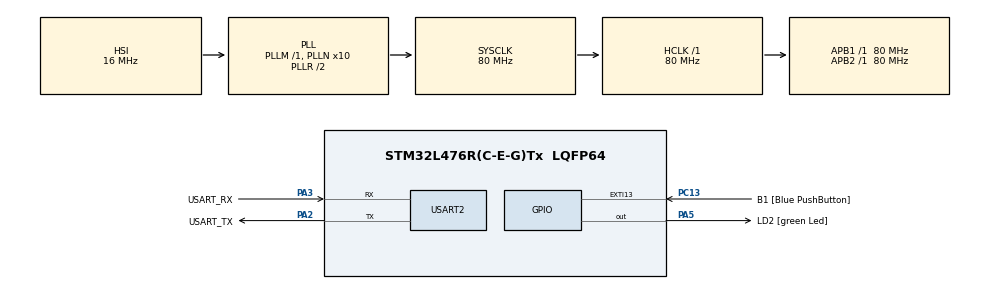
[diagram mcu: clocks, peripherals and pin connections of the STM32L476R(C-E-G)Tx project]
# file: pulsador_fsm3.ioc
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Mcu.Family=STM32L4
Mcu.Name=STM32L476R(C-E-G)Tx
Mcu.Package=LQFP64
NVIC.PriorityGroup=NVIC_PRIORITYGROUP_4
PA13\ (JTMS-SWDIO).GPIO_Label=TMS
PA13\ (JTMS-SWDIO).Mode=Serial_Wire
PA13\ (JTMS-SWDIO).Signal=SYS_JTMS-SWDIO
PA14\ (JTCK-SWCLK).GPIO_Label=TCK
PA14\ (JTCK-SWCLK).Mode=Serial_Wire
PA14\ (JTCK-SWCLK).Signal=SYS_JTCK-SWCLK
PA2.GPIO_Label=USART_TX
PA2.GPIO_Mode=GPIO_MODE_AF_PP
PA2.GPIO_PuPd=GPIO_NOPULL
PA2.GPIO_Speed=GPIO_SPEED_FREQ_VERY_HIGH
PA2.Mode=Asynchronous
PA2.Signal=USART2_TX
PA3.GPIO_Label=USART_RX
PA3.GPIO_Mode=GPIO_MODE_AF_PP
PA3.GPIO_PuPd=GPIO_NOPULL
PA3.GPIO_Speed=GPIO_SPEED_FREQ_VERY_HIGH
PA3.Mode=Asynchronous
PA3.Signal=USART2_RX
PA5.GPIO_Label=LD2 [green Led]
PA5.GPIO_ModeDefaultOutputPP=GPIO_MODE_OUTPUT_PP
PA5.GPIO_PuPd=GPIO_NOPULL
PA5.GPIO_Speed=GPIO_SPEED_FREQ_LOW
PA5.Signal=GPIO_Output
PB3\ (JTDO-TRACESWO).GPIO_Label=SWO
PB3\ (JTDO-TRACESWO).Signal=SYS_JTDO-SWO
PC13.GPIO_Label=B1 [Blue PushButton]
PC13.GPIO_ModeDefaultEXTI=GPIO_MODE_IT_FALLING
PC13.GPIO_PuPd=GPIO_NOPULL
PC13.Signal=GPXTI13
PC14-OSC32_IN\ (PC14).Mode=LSE-External-Oscillator
PC14-OSC32_IN\ (PC14).Signal=RCC_OSC32_IN
PC15-OSC32_OUT\ (PC15).Mode=LSE-External-Oscillator
PC15-OSC32_OUT\ (PC15).Signal=RCC_OSC32_OUT
PH0-OSC_IN\ (PH0).Signal=RCC_OSC_IN
PH1-OSC_OUT\ (PH1).Signal=RCC_OSC_OUT
ProjectManager.HeapSize=0x200
ProjectManager.StackSize=0x400
ProjectManager.TargetToolchain=STM32CubeIDE
RCC.ADCFreq_Value=64000000
RCC.AHBFreq_Value=80000000
RCC.APB1Freq_Value=80000000
RCC.APB1TimFreq_Value=80000000
RCC.APB2Freq_Value=80000000
RCC.APB2TimFreq_Value=80000000
RCC.CortexFreq_Value=80000000
RCC.HCLKFreq_Value=80000000
RCC.HSE_VALUE=8000000
RCC.HSI_VALUE=16000000
RCC.MSI_VALUE=4000000
RCC.PLLN=10
RCC.PLLSourceVirtual=RCC_PLLSOURCE_HSI
RCC.PREFETCH_ENABLE=1
RCC.SYSCLKFreq_VALUE=80000000
RCC.SYSCLKSource=RCC_SYSCLKSOURCE_PLLCLK
RCC.USBFreq_Value=64000000
RCC.VCOOutputFreq_Value=160000000
USART2.VirtualMode-Asynchronous=VM_ASYNC
board=NUCLEO-L476RG

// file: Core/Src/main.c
/* USER CODE BEGIN Header */
/**
  ******************************************************************************
  * @file           : main.c
  * @brief          : Main program body
  ******************************************************************************
  * @attention
  *
  * <h2><center>&copy; Copyright (c) 2020 STMicroelectronics.
  * All rights reserved.</center></h2>
  *
  * This software component is licensed by ST under BSD 3-Clause license,
  * the "License"; You may not use this file except in compliance with the
  * License. You may obtain a copy of the License at:
  *                        opensource.org/licenses/BSD-3-Clause
  *
  ******************************************************************************
  */
/* USER CODE END Header */

#include "main.h"

UART_HandleTypeDef huart2;

void SystemClock_Config(void);
static void MX_GPIO_Init(void);
static void MX_USART2_UART_Init(void);

int main(void)
{

  /* MCU Configuration--------------------------------------------------------*/

  /* Reset of all peripherals, Initializes the Flash interface and the Systick. */
  HAL_Init();

  /* Configure the system clock */
  SystemClock_Config();

  /* Initialize all configured peripherals */
  MX_GPIO_Init();
  MX_USART2_UART_Init();
  /* USER CODE BEGIN 2 */

  current_event = NO_EVENT;
  current_state = LED_OFF;
  set_output(current_state);
  cuenta = 0;
  tick_flag = 0;

  /* USER CODE END 2 */

  /* Infinite loop */
  while (1)
  {

	if (tick_flag == 1) {
		current_event = get_event();
		tick_flag = 0;
	}

	if (current_event == EVENT_UP) {
		(current_state == LED_ON) ? (current_state = LED_OFF) : (current_state = LED_ON);
		set_output(current_state);
		cuenta++;
		current_event = NO_EVENT;
	}

  }
}

void SystemClock_Config(void)
{
  RCC_OscInitTypeDef RCC_OscInitStruct = {0};
  RCC_ClkInitTypeDef RCC_ClkInitStruct = {0};
  RCC_PeriphCLKInitTypeDef PeriphClkInit = {0};

  /** Initializes the CPU, AHB and APB busses clocks
  */
  RCC_OscInitStruct.OscillatorType = RCC_OSCILLATORTYPE_HSI;
  RCC_OscInitStruct.HSIState = RCC_HSI_ON;
  RCC_OscInitStruct.HSICalibrationValue = RCC_HSICALIBRATION_DEFAULT;
  RCC_OscInitStruct.PLL.PLLState = RCC_PLL_ON;
  RCC_OscInitStruct.PLL.PLLSource = RCC_PLLSOURCE_HSI;
  RCC_OscInitStruct.PLL.PLLM = 1;
  RCC_OscInitStruct.PLL.PLLN = 10;
  RCC_OscInitStruct.PLL.PLLP = RCC_PLLP_DIV7;
  RCC_OscInitStruct.PLL.PLLQ = RCC_PLLQ_DIV2;
  RCC_OscInitStruct.PLL.PLLR = RCC_PLLR_DIV2;
  if (HAL_RCC_OscConfig(&RCC_OscInitStruct) != HAL_OK)
  {
    Error_Handler();
  }
  /** Initializes the CPU, AHB and APB busses clocks
  */
  RCC_ClkInitStruct.ClockType = RCC_CLOCKTYPE_HCLK|RCC_CLOCKTYPE_SYSCLK
                              |RCC_CLOCKTYPE_PCLK1|RCC_CLOCKTYPE_PCLK2;
  RCC_ClkInitStruct.SYSCLKSource = RCC_SYSCLKSOURCE_PLLCLK;
  RCC_ClkInitStruct.AHBCLKDivider = RCC_SYSCLK_DIV1;
  RCC_ClkInitStruct.APB1CLKDivider = RCC_HCLK_DIV1;
  RCC_ClkInitStruct.APB2CLKDivider = RCC_HCLK_DIV1;

  if (HAL_RCC_ClockConfig(&RCC_ClkInitStruct, FLASH_LATENCY_4) != HAL_OK)
  {
    Error_Handler();
  }
  PeriphClkInit.PeriphClockSelection = RCC_PERIPHCLK_USART2;
  PeriphClkInit.Usart2ClockSelection = RCC_USART2CLKSOURCE_PCLK1;
  if (HAL_RCCEx_PeriphCLKConfig(&PeriphClkInit) != HAL_OK)
  {
    Error_Handler();
  }
  /** Configure the main internal regulator output voltage
  */
  if (HAL_PWREx_ControlVoltageScaling(PWR_REGULATOR_VOLTAGE_SCALE1) != HAL_OK)
  {
    Error_Handler();
  }
}

static void MX_USART2_UART_Init(void)
{

  huart2.Instance = USART2;
  huart2.Init.BaudRate = 115200;
  huart2.Init.WordLength = UART_WORDLENGTH_8B;
  huart2.Init.StopBits = UART_STOPBITS_1;
  huart2.Init.Parity = UART_PARITY_NONE;
  huart2.Init.Mode = UART_MODE_TX_RX;
  huart2.Init.HwFlowCtl = UART_HWCONTROL_NONE;
  huart2.Init.OverSampling = UART_OVERSAMPLING_16;
  huart2.Init.OneBitSampling = UART_ONE_BIT_SAMPLE_DISABLE;
  huart2.AdvancedInit.AdvFeatureInit = UART_ADVFEATURE_NO_INIT;
  if (HAL_UART_Init(&huart2) != HAL_OK)
  {
    Error_Handler();
  }

}

static void MX_GPIO_Init(void)
{
  GPIO_InitTypeDef GPIO_InitStruct = {0};

  /* GPIO Ports Clock Enable */
  __HAL_RCC_GPIOC_CLK_ENABLE();
  __HAL_RCC_GPIOH_CLK_ENABLE();
  __HAL_RCC_GPIOA_CLK_ENABLE();
  __HAL_RCC_GPIOB_CLK_ENABLE();

  /*Configure GPIO pin Output Level */
  HAL_GPIO_WritePin(LD2_GPIO_Port, LD2_Pin, GPIO_PIN_RESET);

  /*Configure GPIO pin : B1_Pin */
  GPIO_InitStruct.Pin = B1_Pin;
  GPIO_InitStruct.Mode = GPIO_MODE_IT_FALLING;
  GPIO_InitStruct.Pull = GPIO_NOPULL;
  HAL_GPIO_Init(B1_GPIO_Port, &GPIO_InitStruct);

  /*Configure GPIO pin : LD2_Pin */
  GPIO_InitStruct.Pin = LD2_Pin;
  GPIO_InitStruct.Mode = GPIO_MODE_OUTPUT_PP;
  GPIO_InitStruct.Pull = GPIO_NOPULL;
  GPIO_InitStruct.Speed = GPIO_SPEED_FREQ_LOW;
  HAL_GPIO_Init(LD2_GPIO_Port, &GPIO_InitStruct);

}

/* USER CODE BEGIN 4 */

int8_t get_event(void) {
	current_input = get_input();
	if ((current_event == NO_EVENT) && (current_input == PB_DOWN))
		current_event = EVENT_DOWN;
	if ((current_event == EVENT_DOWN) && (current_input == PB_UP))
		current_event = EVENT_UP;
	return current_event;
}

int8_t get_input(void) {
	if (!HAL_GPIO_ReadPin(B1_GPIO_Port, B1_Pin))
		return PB_DOWN;
	else
		return PB_UP;
}

void set_output(int8_t current_state) {
	switch (current_state) {
		case LED_ON:
			HAL_GPIO_WritePin(LD2_GPIO_Port, LD2_Pin, SET);
			break;
		case LED_OFF:
			HAL_GPIO_WritePin(LD2_GPIO_Port, LD2_Pin, RESET);
			break;
	}
}

/* USER CODE END 4 */

void Error_Handler(void)
{
}

/************************ (C) COPYRIGHT STMicroelectronics *****END OF FILE****/
